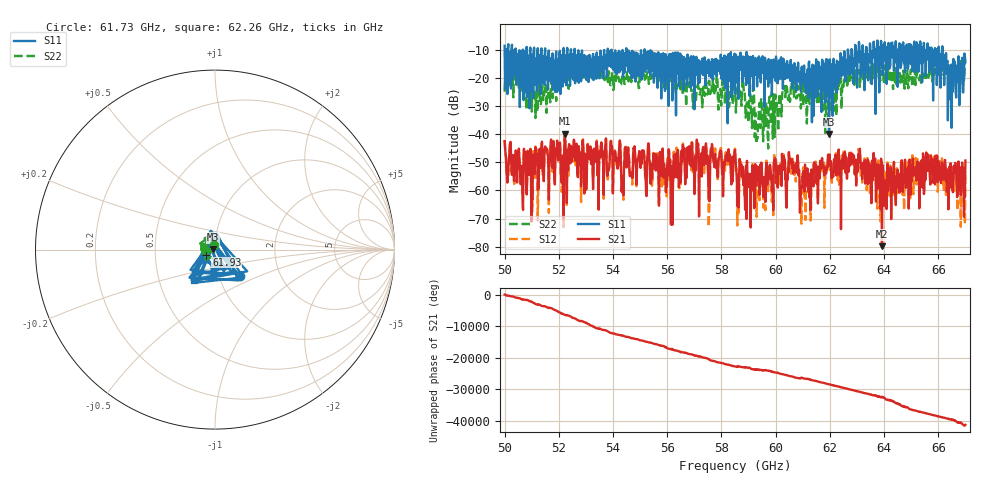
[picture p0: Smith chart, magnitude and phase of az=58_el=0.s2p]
!Created with skrf (http://scikit-rf.org).
# GHz S RI R 50.0
!freq ReS11 ImS11 ReS21 ImS21 ReS12 ImS12 ReS22 ImS22
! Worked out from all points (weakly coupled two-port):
!   1001 points, 50 GHz to 67 GHz, reference 50 ohm
!   highest |S21| = -39.77 dB at 52.23 GHz (marker M1); lowest = -79.8 dB at 63.92 GHz (marker M2)
!   lowest |S11| = -39.9 dB at 61.97 GHz (marker M3), VSWR 1.02, Z = 49 + j0.25 ohm
!   |S11| at or under -10 dB: 52.58 GHz to 53.67 GHz (1.087 GHz wide, 2.05 % of centre); 55.17 GHz to 62.66 GHz (7.496 GHz wide, 12.7 % of centre); 66.16 GHz to end of sweep (the widest 3 of 60)
!   |S22| runs from -45.0 to -12.9 dB; largest |S21 - S12| = 0.0023
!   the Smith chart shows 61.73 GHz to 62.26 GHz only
!   S11 on the Smith chart (normalised r, x): 61.73 GHz: 1.25, -0.39; 61.93 GHz: 0.91, -0.05; 62.26 GHz: 0.75, -0.26
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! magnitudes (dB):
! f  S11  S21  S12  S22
! 50 GHz  -8.5  -42.4  -42.1  -24.8
! 50.65 GHz  -23.2  -56.8  -57.2  -22.7
! 51.97 GHz  -16.9  -49.3  -48.1  -21.4
! 52.23 GHz  -11.9  -39.8  -40.0  -20.7
! 52.84 GHz  -12.9  -50.1  -51.3  -19.4
! 55.68 GHz  -13.6  -54.6  -58.8  -21.8
! 56.83 GHz  -14.3  -50.8  -50.3  -21.9
! 58.5 GHz  -25.5  -45.4  -45.1  -23.8
! 59.11 GHz  -12.8  -56.7  -57.7  -32.7
! 59.3 GHz  -15.0  -56.0  -69.4  -41.6
! 60.57 GHz  -17.6  -50.4  -54.0  -21.6
! 60.98 GHz  -21.3  -57.8  -52.9  -19.9
! 61.34 GHz  -35.7  -55.4  -57.7  -24.9
! 61.73 GHz  -13.9  -51.5  -53.2  -31.6
! 61.93 GHz  -25.1  -47.2  -48.0  -36.2
! 61.97 GHz  -39.9  -51.1  -50.4  -22.5
! 62.26 GHz  -13.8  -47.5  -47.0  -24.2
! 63.92 GHz  -15.8  -79.8  -64.9  -18.4
! 64.18 GHz  -12.0  -54.7  -52.5  -17.6
! 66.08 GHz  -23.4  -52.0  -50.0  -15.6
! 66.44 GHz  -27.6  -53.6  -54.5  -15.8
! 67 GHz  -14.3  -49.3  -53.1  -14.5
